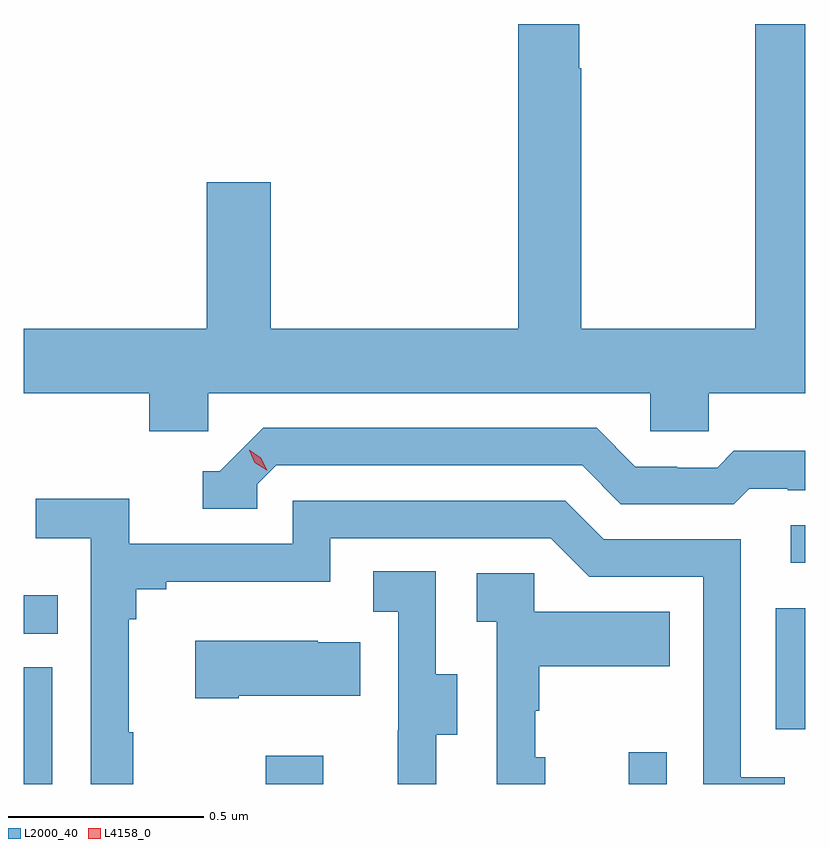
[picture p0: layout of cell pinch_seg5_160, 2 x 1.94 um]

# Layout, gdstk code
import gdstk
lib = gdstk.Library(unit=1e-6, precision=1e-09)
def R(c, l, rs):  # rectangles x0, y0, x1, y1
    for r in rs: c.add(gdstk.rectangle(r[:2], r[2:], *l))
def P(c, l, *ps):  # polygons
    for p in ps: c.add(gdstk.Polygon(p, *l))
L2000_40 = (2000, 40)
L4158_0 = (4158, 0)

pinch_seg5_160 = lib.new_cell('pinch_seg5_160')
R(pinch_seg5_160, L2000_40, [(1099.604,889.06,1099.678,889.359), (1100.224,889.06,1100.371,889.132), (1101.152,889.06,1101.249,889.141), (1101.528,889.2,1101.604,889.51), (1099.604,889.444,1099.691,889.543), (1101.567,889.626,1101.604,889.722)])
P(pinch_seg5_160, L2000_40, [(1100.076,890.06),(1101.207,890.06),(1101.207,889.962),(1101.357,889.962),(1101.357,890.06),(1101.604,890.06),(1101.604,891.004),(1101.475,891.004),(1101.475,890.224),(1101.03,890.224),(1101.03,890.891),(1101.025,890.891),(1101.025,891.004),(1100.87,891.004),(1100.87,890.224),(1100.236,890.224),(1100.236,890.599),(1100.072,890.599),(1100.072,890.224),(1099.604,890.224),(1099.604,890.06),(1099.925,890.06),(1099.925,889.962),(1100.076,889.962)],
  [(1100.202,889.827),(1100.25,889.875),(1101.033,889.875),(1101.132,889.776),(1101.421,889.776),(1101.46,889.815),(1101.559,889.815),(1101.559,889.812),(1101.604,889.812),(1101.604,889.912),(1101.421,889.912),(1101.379,889.869),(1101.276,889.869),(1101.276,889.872),(1101.169,889.872),(1101.07,889.971),(1100.217,889.971),(1100.106,889.86),(1100.063,889.86),(1100.063,889.764),(1100.202,889.764)],
  [(1099.885,889.193),(1099.873,889.193),(1099.873,889.481),(1099.892,889.481),(1099.892,889.558),(1099.969,889.558),(1099.969,889.577),(1100.388,889.577),(1100.388,889.689),(1100.952,889.689),(1101.051,889.59),(1101.342,889.59),(1101.342,889.06),(1101.551,889.06),(1101.551,889.077),(1101.438,889.077),(1101.438,889.686),(1101.088,889.686),(1100.989,889.785),(1100.292,889.785),(1100.292,889.674),(1099.874,889.674),(1099.874,889.79),(1099.635,889.79),(1099.635,889.688),(1099.776,889.688),(1099.776,889.06),(1099.885,889.06)],
  [(1100.659,889.186),(1100.713,889.186),(1100.713,889.341),(1100.658,889.341),(1100.658,889.604),(1100.499,889.604),(1100.499,889.501),(1100.562,889.501),(1100.562,889.197),(1100.561,889.197),(1100.561,889.06),(1100.659,889.06)],
  [(1100.938,889.128),(1100.913,889.128),(1100.913,889.247),(1100.923,889.247),(1100.923,889.361),(1101.257,889.361),(1101.257,889.501),(1100.91,889.501),(1100.91,889.599),(1100.763,889.599),(1100.763,889.475),(1100.814,889.475),(1100.814,889.06),(1100.938,889.06)],
  [(1100.155,889.286),(1100.465,889.286),(1100.465,889.423),(1100.357,889.423),(1100.357,889.426),(1100.043,889.426),(1100.043,889.279),(1100.155,889.279)])
P(pinch_seg5_160, L4158_0, [(1100.226,889.862),(1100.196,889.882),(1100.181,889.914),(1100.181,889.915),(1100.181,889.915),(1100.211,889.895),(1100.227,889.863),(1100.227,889.862)])

lib.write_gds('pinch_seg5_160.gds')
